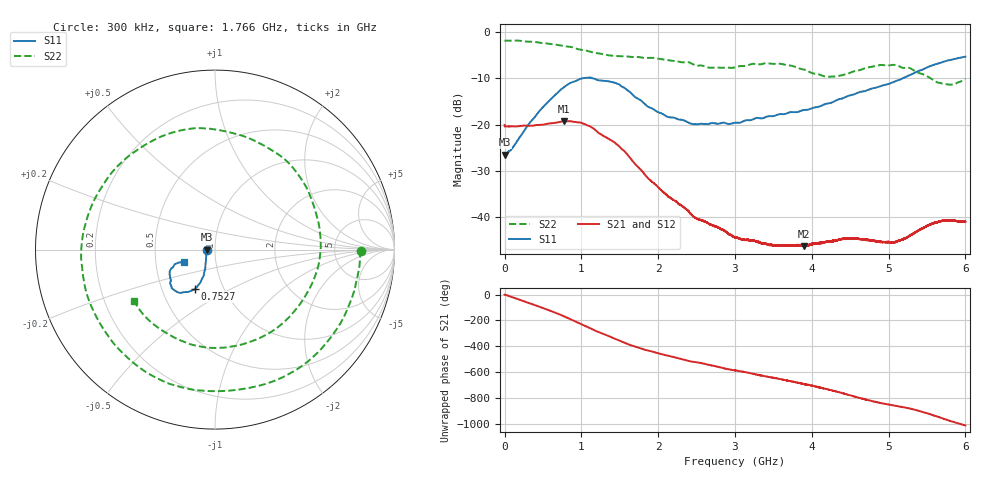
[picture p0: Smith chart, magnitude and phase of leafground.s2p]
!  8/6/2020  04:05:46
! Ref Plane: 0.000 mm
# MHZ S MA R  50
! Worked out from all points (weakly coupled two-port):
!   10001 points, 300 kHz to 6 GHz, reference 50 ohm
!   highest |S21| = -19.25 dB at 777.3 MHz (marker M1); lowest = -46.3 dB at 3.903 GHz (marker M2)
!   lowest |S11| = -26.6 dB at 300 kHz (marker M3), VSWR 1.10, Z = 45.5 - j0.0494 ohm
!   |S11| at or under -10 dB: start of sweep to 1.009 GHz; 1.151 GHz to 5.184 GHz (4.033 GHz wide, 127 % of centre)
!   |S22| runs from -11.4 to -1.8 dB; largest |S21 - S12| = 0.0031
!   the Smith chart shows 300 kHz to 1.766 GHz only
!   S11 on the Smith chart (normalised r, x): 300 kHz: 0.91, -0.00; 752.7 MHz: 0.73, -0.34; 1.766 GHz: 0.70, -0.10
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0.3  0.04702 -179.3  0.09911 -0.9  0.09603 -0.9  0.8126 -0.5
331.4834  0.1054 -120.5  0.0968 -68.9  0.09701 -69.1  0.7898 -100.6
548.6726  0.1701 -113.9  0.1016 -115.1  0.1018 -115.3  0.7542 -163.3
752.6624  0.2468 -117.0  0.1082 -162.9  0.1085 -163.0  0.7132 137.8
777.2612  0.2547 -118.2  0.109 -169.3  0.1091 -169.5  0.7066 130.4
1000.45  0.3148 -130.8  0.1042 130.9  0.1044 130.8  0.641 65.1
1218.839  0.3016 -144.6  0.08159 71.4  0.08181 71.2  0.5897 2.5
1448.028  0.2808 -154.0  0.0623 15.5  0.06248 15.4  0.5523 -62.2
1766.012  0.1846 -157.6  0.03282 -54.6  0.03293 -54.8  0.5338 -147.5
2000.6  0.1359 -147.5  0.02087 -93.9  0.0209 -94.0  0.5161 152.5
2258.587  0.1136 -129.9  0.01399 -131.9  0.01409 -132.0  0.4815 86.3
2550.173  0.1018 -106.1  0.009314 -168.1  0.009245 -168.4  0.4362 5.2
3000.15  0.1045 -75.4  0.00596 134.3  0.006035 134.5  0.416 -129.2
3237.738  0.1139 -62.8  0.005616 108.0  0.005584 108.3  0.4541 167.9
3512.524  0.124 -48.3  0.004921 75.7  0.004961 75.9  0.4531 101.2
3903.105  0.1436 -29.1  0.004817 28.5  0.004919 28.0  0.3928 3.0
4000.3  0.1496 -24.4  0.005078 16.5  0.005106 16.6  0.3615 -24.3
4241.488  0.1707 -12.3  0.005493 -17.3  0.005446 -18.1  0.3294 -102.2
4509.075  0.2078 -3.5  0.005849 -59.4  0.005861 -59.6  0.366 173.9
5000.45  0.2747 8.2  0.005357 -130.0  0.005349 -130.2  0.4368 53.8
5524.224  0.4237 14.5  0.008166 159.0  0.008176 158.7  0.3248 -74.1
6000  0.5421 6.3  0.008799 69.4  0.008857 69.9  0.3116 124.1
